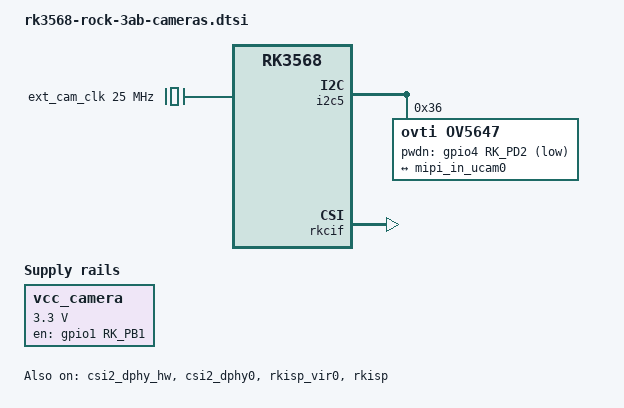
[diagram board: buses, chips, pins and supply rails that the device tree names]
// SPDX-License-Identifier: (GPL-2.0+ OR MIT)
/*
 * Copyright (c) 2022 Radxa Limited.
 *
 */

/ {
	ext_cam_clk: ext-cam-clk {
		status = "okay";
		compatible = "fixed-clock";
		clock-frequency = <25000000>;
		clock-output-names = "ext_cam_clk";
		#clock-cells = <0>;
	};

	ext_cam_clk_imx219: ext-cam-clk-imx219 {
		status = "disabled";
		compatible = "fixed-clock";
		clock-frequency = <24000000>;
		clock-output-names = "ext_cam_clk_imx219";
		#clock-cells = <0>;
	};

	vcc_camera: vcc-camera {
		status = "okay";
		compatible = "regulator-fixed";
		regulator-name = "vcc_camera";
		gpio = <&gpio1 RK_PB1 GPIO_ACTIVE_HIGH>;
		enable-active-high;
		regulator-min-microvolt = <3300000>;
		regulator-max-microvolt = <3300000>;
		regulator-always-on;
		regulator-boot-on;
	};
};

&i2c5 {
	status = "okay";
	pinctrl-names = "default";
	pinctrl-0 = <&i2c5m0_xfer>;
	#address-cells = <1>;
	#size-cells = <0>;

	ov5647: ov5647@36 {
		status = "okay";
		compatible = "ovti,ov5647";
		reg = <0x36>;

		clocks = <&ext_cam_clk>;
		clock-names = "ext_cam_clk";
		pwdn-gpios = <&gpio4 RK_PD2 GPIO_ACTIVE_LOW>;

		rockchip,camera-module-index = <0>;
		rockchip,camera-module-facing = "back";
		rockchip,camera-module-name = "rpi-camera-v1p3";
		rockchip,camera-module-lens-name = "default";
		port {
			ov5647_out: endpoint {
				remote-endpoint = <&mipi_in_ucam0>;
				data-lanes = <1 2>;
			};
		};
	};

	imx219: imx219@10 {
		status = "disabled";
		compatible = "sony,imx219";
		reg = <0x10>;

		clocks = <&ext_cam_clk_imx219>;
		clock-names = "ext_cam_clk_imx219";
		pwdn-gpios = <&gpio4 RK_PD2 GPIO_ACTIVE_HIGH>;

		rockchip,camera-module-index = <1>;
		rockchip,camera-module-facing = "front";
		rockchip,camera-module-name = "rpi-camera-v2";
		rockchip,camera-module-lens-name = "default";

		port {
			imx219_out: endpoint {
				remote-endpoint = <&mipi_in_ucam1>;
				data-lanes = <1 2>;
			};
		};
	};
};

&csi2_dphy_hw {
	status = "okay";
};

&csi2_dphy0 {
	status = "okay";

	ports {
		#address-cells = <1>;
		#size-cells = <0>;

		port@0 {
			reg = <0>;
			#address-cells = <1>;
			#size-cells = <0>;

			mipi_in_ucam0: endpoint@1 {
				reg = <1>;
				remote-endpoint = <&ov5647_out>;
				data-lanes = <1 2>;
			};

			mipi_in_ucam1: endpoint@2 {
				reg = <2>;
				remote-endpoint = <&imx219_out>;
				data-lanes = <1 2>;
			};
		};

		port@1 {
			reg = <1>;
			#address-cells = <1>;
			#size-cells = <0>;

			dphy0_out: endpoint@1 {
				reg = <1>;
				remote-endpoint = <&isp0_in>;
			};
		};
	};
};

&rkisp_vir0 {
	status = "okay";

	port {
		#address-cells = <1>;
		#size-cells = <0>;

		isp0_in: endpoint@0 {
			reg = <0>;
			remote-endpoint = <&dphy0_out>;
		};
	};
};

&rkisp {
	status = "okay";
};

&rkisp_mmu {
	status = "okay";
};

&rkcif_mmu {
	status = "okay";
};

&rkcif {
	status = "okay";
};
